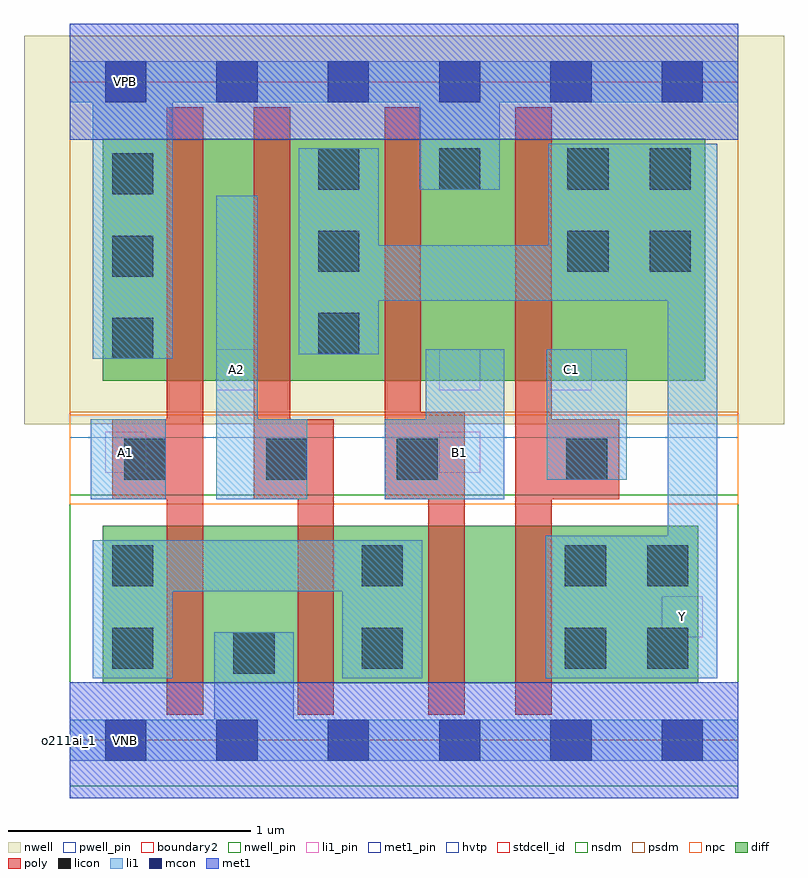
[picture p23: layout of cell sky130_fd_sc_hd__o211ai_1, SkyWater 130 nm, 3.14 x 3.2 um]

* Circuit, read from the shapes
.subckt sky130_fd_sc_hd__o211ai_1 A1 A2 B1 C1 VGND VNB VPB VPWR Y
XM1 VGND A1 n1 VNB sky130_fd_pr__nfet_01v8 w=0.65 l=0.15
XM2 n1 A2 VGND VNB sky130_fd_pr__nfet_01v8 w=0.65 l=0.15
XM3 n2 B1 n1 VNB sky130_fd_pr__nfet_01v8 w=0.65 l=0.15
XM4 Y C1 n2 VNB sky130_fd_pr__nfet_01v8 w=0.65 l=0.15
XM5 n3 A1 VPWR VPB sky130_fd_pr__pfet_01v8_hvt w=1 l=0.15
XM6 Y A2 n3 VPB sky130_fd_pr__pfet_01v8_hvt w=1 l=0.15
XM7 VPWR B1 Y VPB sky130_fd_pr__pfet_01v8_hvt w=1 l=0.15
XM8 Y C1 VPWR VPB sky130_fd_pr__pfet_01v8_hvt w=1 l=0.15
.ends

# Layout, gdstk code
import gdstk
lib = gdstk.Library(unit=1e-6, precision=1e-09)
def R(c, l, rs):  # rectangles x0, y0, x1, y1
    for r in rs: c.add(gdstk.rectangle(r[:2], r[2:], *l))
def A(c, l, x, y, w, h, nx, ny, dx, dy):  # array of equal rectangles
    R(c, l, [(x+i*dx, y+j*dy, x+i*dx+w, y+j*dy+h) for i in range(nx) for j in range(ny)])
def P(c, l, *ps):  # polygons
    for p in ps: c.add(gdstk.Polygon(p, *l))
nwell_pin = (64, 16)
nwell = (64, 20)
diff = (65, 20)
poly = (66, 20)
licon = (66, 44)
li1_pin = (67, 16)
li1 = (67, 20)
mcon = (67, 44)
met1_pin = (68, 16)
met1 = (68, 20)
hvtp = (78, 44)
stdcell_id = (81, 4)
nsdm = (93, 44)
psdm = (94, 20)
npc = (95, 20)
pwell_pin = (122, 16)
boundary2 = (236, 0)

sky130_fd_sc_hd__o211ai_ = lib.new_cell('sky130_fd_sc_hd__o211ai_1')
R(sky130_fd_sc_hd__o211ai_, nwell_pin, [(0.145,2.635,0.315,2.805)])
R(sky130_fd_sc_hd__o211ai_, nwell, [(-0.19,1.305,2.95,2.91)])
R(sky130_fd_sc_hd__o211ai_, diff, [(0.135,0.235,2.595,0.885), (0.135,1.485,2.625,2.485)])
P(sky130_fd_sc_hd__o211ai_, poly, [(0.55,2.615),(0.4,2.615),(0.4,1.325),(0.175,1.325),(0.175,0.995),(0.4,0.995),(0.4,0.105),(0.55,0.105)],
  [(1.09,1.325),(0.91,1.325),(0.91,2.615),(0.76,2.615),(0.76,0.995),(0.94,0.995),(0.94,0.105),(1.09,0.105)],
  [(1.63,1.355),(1.45,1.355),(1.45,2.615),(1.3,2.615),(1.3,0.995),(1.48,0.995),(1.48,0.105),(1.63,0.105)],
  [(2.27,1.325),(1.99,1.325),(1.99,2.615),(1.84,2.615),(1.84,0.105),(1.99,0.105),(1.99,0.995),(2.27,0.995)])
A(sky130_fd_sc_hd__o211ai_, licon, 0.175, 1.575, 0.17, 0.17, 1, 3, 0, 0.34)
A(sky130_fd_sc_hd__o211ai_, licon, 1.025, 1.595, 0.17, 0.17, 1, 3, 0, 0.34)
R(sky130_fd_sc_hd__o211ai_, licon, [(0.675,0.275,0.845,0.445), (0.175,0.295,0.345,0.465), (1.205,0.295,1.375,0.465), (2.045,0.295,2.215,0.465), (2.385,0.295,2.555,0.465), (0.175,0.635,0.345,0.805), (1.205,0.635,1.375,0.805), (2.045,0.635,2.215,0.805), (2.385,0.635,2.555,0.805), (0.225,1.075,0.395,1.245), (0.81,1.075,0.98,1.245), (1.35,1.075,1.52,1.245), (2.05,1.075,2.22,1.245), (2.055,1.935,2.225,2.105), (2.395,1.935,2.565,2.105), (1.525,2.275,1.695,2.445), (2.055,2.275,2.225,2.445), (2.395,2.275,2.565,2.445)])
R(sky130_fd_sc_hd__o211ai_, li1_pin, [(2.445,0.425,2.615,0.595), (0.145,1.105,0.315,1.275), (1.525,1.105,1.695,1.275), (0.605,1.445,0.775,1.615), (1.525,1.445,1.695,1.615), (1.985,1.445,2.155,1.615)])
R(sky130_fd_sc_hd__o211ai_, li1, [(0.085,0.995,0.395,1.325), (1.97,1.075,2.3,1.615)])
P(sky130_fd_sc_hd__o211ai_, li1, [(1.795,1.615),(1.47,1.615),(1.47,1.325),(1.3,1.325),(1.3,0.995),(1.795,0.995)],
  [(1.455,0.825),(0.095,0.825),(0.095,0.255),(0.425,0.255),(0.425,0.615),(1.125,0.615),(1.125,0.255),(1.455,0.255)],
  [(2.675,2.465),(1.975,2.465),(1.975,2.045),(1.275,2.045),(1.275,2.445),(0.945,2.445),(0.945,1.595),(1.275,1.595),(1.275,1.815),(2.47,1.815),(2.47,0.845),(1.965,0.845),(1.965,0.255),(2.675,0.255)],
  [(2.76,2.805),(0,2.805),(0,2.635),(0.095,2.635),(0.095,1.575),(0.425,1.575),(0.425,2.635),(1.445,2.635),(1.445,2.275),(1.775,2.275),(1.775,2.635),(2.76,2.635)],
  [(2.76,0.085),(0.925,0.085),(0.925,0.445),(0.595,0.445),(0.595,0.085),(0,0.085),(0,-0.085),(2.76,-0.085)],
  [(0.98,1.325),(0.775,1.325),(0.775,2.25),(0.605,2.25),(0.605,0.995),(0.98,0.995)])
A(sky130_fd_sc_hd__o211ai_, mcon, 0.145, -0.085, 0.17, 0.17, 6, 2, 0.46, 2.72)
R(sky130_fd_sc_hd__o211ai_, met1_pin, [(0.145,-0.085,0.315,0.085), (0.145,2.635,0.315,2.805)])
R(sky130_fd_sc_hd__o211ai_, hvtp, [(0,1.25,2.76,2.72)])
R(sky130_fd_sc_hd__o211ai_, stdcell_id, [(0,0,2.76,2.72)])
R(sky130_fd_sc_hd__o211ai_, nsdm, [(0,-0.19,2.76,1.015)])
R(sky130_fd_sc_hd__o211ai_, psdm, [(0,1.355,2.76,2.91)])
R(sky130_fd_sc_hd__o211ai_, npc, [(0,0.975,2.76,1.345)])
R(sky130_fd_sc_hd__o211ai_, pwell_pin, [(0.145,-0.085,0.315,0.085)])
R(sky130_fd_sc_hd__o211ai_, boundary2, [(0,0,2.76,2.72)])
sky130_fd_sc_hd__o211ai_.add(gdstk.FlexPath([(0,2.72),(2.76,2.72)], 0.48, ends="flush", simple_path=True, layer=68, datatype=20))  # met1
sky130_fd_sc_hd__o211ai_.add(gdstk.FlexPath([(0,0),(2.76,0)], 0.48, ends="flush", simple_path=True, layer=68, datatype=20))  # met1
sky130_fd_sc_hd__o211ai_.add(gdstk.Label('A1', (0.23,1.19), layer=67, texttype=5))
sky130_fd_sc_hd__o211ai_.add(gdstk.Label('A2', (0.69,1.53), layer=67, texttype=5))
sky130_fd_sc_hd__o211ai_.add(gdstk.Label('Y', (2.53,0.51), layer=67, texttype=5))
sky130_fd_sc_hd__o211ai_.add(gdstk.Label('C1', (2.07,1.53), layer=67, texttype=5))
sky130_fd_sc_hd__o211ai_.add(gdstk.Label('B1', (1.61,1.19), layer=67, texttype=5))
sky130_fd_sc_hd__o211ai_.add(gdstk.Label('VPB', (0.23,2.72), layer=64, texttype=5))
sky130_fd_sc_hd__o211ai_.add(gdstk.Label('VNB', (0.23,0), layer=64, texttype=59))
sky130_fd_sc_hd__o211ai_.add(gdstk.Label('VGND', (0.23,0), layer=68, texttype=5))
sky130_fd_sc_hd__o211ai_.add(gdstk.Label('VPWR', (0.23,2.72), layer=68, texttype=5))
sky130_fd_sc_hd__o211ai_.add(gdstk.Label('o211ai_1', (0,0), layer=83, texttype=44))

lib.write_gds('sky130_fd_sc_hd__o211ai_1.gds')
